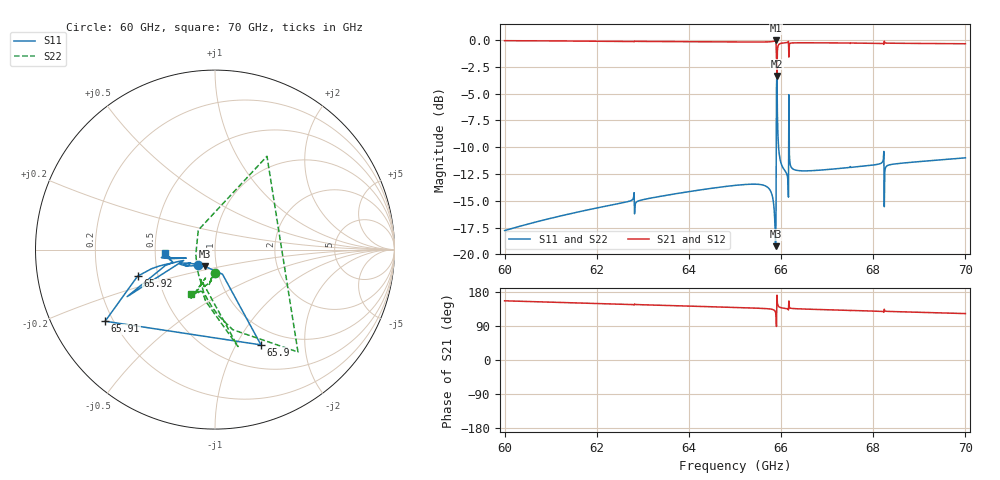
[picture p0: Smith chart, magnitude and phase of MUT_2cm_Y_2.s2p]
! TOUCHSTONE file generated by CST MICROWAVE STUDIO
! Date and time: Tue Feb 27 23:06:30 2024
! Project name: material_angular.cst
! Parameters = {Yi=2; iiii=5; exis2=5; exis=5; X=5; Z=5; Y=2}
! Header version: 2018
! Port assignment regex: !\s*Touchstone port\s*([0-9]+)\s*=\s*(CST MWS port|CST DS port)\s*([0-9]+|Zmin|Zmax)\s*\(\"(.*)\"\)(\s*mode\s*([0-9]+))?.*
! Touchstone port assignment:
! Touchstone port 1 = CST MWS port 1 ("")
! Touchstone port 2 = CST MWS port 2 ("")
# GHz S MA R 376.7
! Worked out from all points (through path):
!   1001 points, 60 GHz to 70 GHz, reference 376.7 ohm
!   highest |S21| = -0.05 dB at 65.88 GHz (marker M1); lowest = -3.4 dB at 65.91 GHz (marker M2)
!   lowest |S11| = -19.2 dB at 65.88 GHz (marker M3), VSWR 1.25, Z = 331 - j62.4 ohm
!   |S11| at or under -10 dB: start of sweep to 65.9 GHz; 65.94647 GHz to 66.16488 GHz (218.4 MHz wide, 0.331 % of centre); 66.18 GHz to end of sweep
!   |S22| runs from -19.2 to -2.7 dB; largest |S21 - S12| = 0.0062
!   S11 on the Smith chart (normalised r, x): 60 GHz: 0.81, -0.14; 65.9 GHz: 0.78, -1.27; 65.91 GHz: 0.17, -0.29; 65.92 GHz: 0.38, -0.14; 70 GHz: 0.56, -0.02
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60  0.1291 -138.4  0.9916 156.2  0.9921 156.2  0.129 -89.5
61.67  0.1589 -145.2  0.9873 150.3  0.9873 150.3  0.159 -94.2
63.34  0.1858 -151.3  0.9826 144.5  0.9826 144.5  0.1858 -99.6
65  0.2097 -157.1  0.9777 138.7  0.9778 138.7  0.2095 -105.5
65.68  0.2075 -158.5  0.9782 135.5  0.9782 135.5  0.2076 -110.4
65.78  0.1959 -157.4  0.9806 134.3  0.9806 134.3  0.196 -113.9
65.84  0.1706 -153.7  0.9853 132.2  0.9853 132.2  0.1707 -121.9
65.85  0.1614 -151.7  0.9869 131.5  0.9869 131.5  0.1615 -125.3
65.88  0.1092 -121.3  0.994 125.8  0.994 125.8  0.1093 -167.0
65.9  0.5895 -64.3  0.8065 88.5  0.8065 88.5  0.5952 60.9
65.91  0.7305 -146.9  0.6794 171.1  0.6794 171.1  0.7344 -51.0
65.92  0.4565 -161.0  0.8895 150.7  0.8895 150.7  0.4568 -77.6
65.95  0.3084 -163.6  0.9513 141.0  0.9513 141.0  0.3084 -94.5
65.96  0.2937 -163.4  0.9559 140.0  0.9559 140.0  0.2937 -96.6
65.99  0.2702 -163.0  0.9628 138.3  0.9628 138.3  0.2702 -100.3
66.11  0.2405 -162.4  0.9706 135.9  0.9706 135.9  0.2405 -105.8
66.12  0.238 -162.4  0.9713 135.7  0.9713 135.7  0.238 -106.2
66.22  0.255 -162.5  0.9669 136.3  0.9669 136.3  0.255 -104.9
66.28  0.2486 -162.6  0.9686 135.6  0.9686 135.6  0.2486 -106.1
66.67  0.2457 -163.7  0.9694 133.8  0.9694 133.8  0.2457 -108.7
68.34  0.2611 -169.5  0.9653 128.2  0.9653 128.2  0.2611 -114.1
70  0.2819 -176.1  0.9594 122.5  0.9594 122.5  0.282 -118.9
